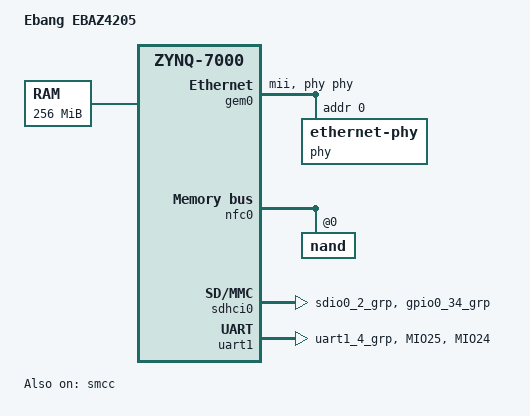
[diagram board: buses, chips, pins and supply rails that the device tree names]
// SPDX-License-Identifier: GPL-2.0
/*
 * Copyright (C) 2021 Michael Walle <michael@walle.cc>
 */
/dts-v1/;
/include/ "zynq-7000.dtsi"

/ {
	model = "Ebang EBAZ4205";
	compatible = "ebang,ebaz4205", "xlnx,zynq-7000";

	aliases {
		ethernet0 = &gem0;
		serial0 = &uart1;
	};

	memory@0 {
		device_type = "memory";
		reg = <0x0 0x10000000>;
	};

	chosen {
		stdout-path = "serial0:115200n8";
	};
};

&clkc {
	ps-clk-frequency = <33333333>;
	fclk-enable = <8>;
};

&gem0 {
	status = "okay";
	phy-mode = "mii";
	phy-handle = <&phy>;

	/* PHY clock */
	assigned-clocks = <&clkc 18>;
	assigned-clock-rates = <25000000>;

	phy: ethernet-phy@0 {
		reg = <0>;
	};
};

&gpio0 {
	pinctrl-names = "default";
	pinctrl-0 = <&pinctrl_gpio0_default>;
};

&nfc0 {
	status = "okay";

	#address-cells = <1>;
	#size-cells = <0>;
	nand@0 {
		reg = <0>;
	};
};

&pinctrl0 {
	pinctrl_gpio0_default: gpio0-default {
		mux {
			groups = "gpio0_20_grp", "gpio0_32_grp";
			function = "gpio0";
		};

		conf {
			groups = "gpio0_20_grp", "gpio0_32_grp";
			io-standard = <3>;
			slew-rate = <0>;
		};

		conf-pull-up {
			pins = "MIO20", "MIO32";
			bias-disable;
		};
	};

	pinctrl_sdhci0_default: sdhci0-default {
		mux {
			groups = "sdio0_2_grp";
			function = "sdio0";
		};

		conf {
			groups = "sdio0_2_grp";
			io-standard = <3>;
			slew-rate = <0>;
			bias-disable;
		};

		mux-cd {
			groups = "gpio0_34_grp";
			function = "sdio0_cd";
		};

		conf-cd {
			groups = "gpio0_34_grp";
			io-standard = <3>;
			slew-rate = <0>;
			bias-high-impedance;
			bias-pull-up;
		};
	};

	pinctrl_uart1_default: uart1-default {
		mux {
			groups = "uart1_4_grp";
			function = "uart1";
		};

		conf {
			groups = "uart1_4_grp";
			io-standard = <3>;
			slew-rate = <0>;
		};

		conf-rx {
			pins = "MIO25";
			bias-high-impedance;
		};

		conf-tx {
			pins = "MIO24";
			bias-disable;
		};
	};
};

&smcc {
	status = "okay";
};

&sdhci0 {
	status = "okay";
	disable-wp;
	pinctrl-names = "default";
	pinctrl-0 = <&pinctrl_sdhci0_default>;
};

&uart1 {
	status = "okay";
	pinctrl-names = "default";
	pinctrl-0 = <&pinctrl_uart1_default>;
};
